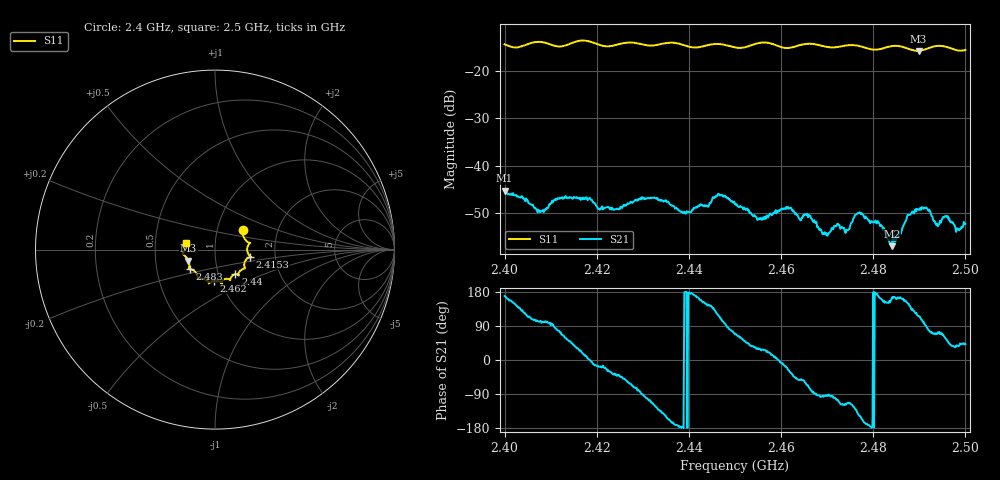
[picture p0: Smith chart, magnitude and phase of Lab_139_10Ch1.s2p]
# Hz S RI R 50
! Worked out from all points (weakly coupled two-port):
!   601 points, 2.4 GHz to 2.5 GHz, reference 50 ohm
!   highest |S21| = -45.25 dB at 2.4 GHz (marker M1); lowest = -56.9 dB at 2.484 GHz (marker M2)
!   lowest |S11| = -15.9 dB at 2.4898 GHz (marker M3), VSWR 1.38, Z = 36.8 - j4.61 ohm
!   |S11| at or under -10 dB: start of sweep to end of sweep
!   S12 and S22 are empty: the file has one direction only
!   S11 on the Smith chart (normalised r, x): 2.4 GHz: 1.33, +0.29; 2.4153 GHz: 1.48, -0.12; 2.44 GHz: 1.20, -0.34; 2.462 GHz: 0.93, -0.33; 2.483 GHz: 0.74, -0.17; 2.5 GHz: 0.72, +0.06
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2.4e9  0.1552 0.1067  -0.00536 0.00105  0 0  0 0
2.407667e9  0.1961 0.0378  -0.000676 0.00319  0 0  0 0
2.415333e9  0.1965 -0.0388  0.00374 0.00268  0 0  0 0
2.416667e9  0.2021 -0.0429  0.00426 0.00166  0 0  0 0
2.424e9  0.1628 -0.0875  0.00269 -0.00221  0 0  0 0
2.433333e9  0.1311 -0.1335  -0.00288 -0.00328  0 0  0 0
2.44e9  0.114 -0.1369  -0.00327 0.000104  0 0  0 0
2.4465e9  0.0847 -0.1702  -0.00228 0.00454  0 0  0 0
2.45e9  0.0647 -0.1626  0.00149 0.00365  0 0  0 0
2.455333e9  0.0369 -0.1916  0.00245 0.0014  0 0  0 0
2.462e9  -0.0052 -0.1733  0.00303 -0.00196  0 0  0 0
2.466667e9  -0.0343 -0.1876  0.00042 -0.00274  0 0  0 0
2.469833e9  -0.0463 -0.1713  -0.00015 -0.00196  0 0  0 0
2.474333e9  -0.0894 -0.1605  -0.000876 -0.00191  0 0  0 0
2.477167e9  -0.0966 -0.152  -0.00274 -0.00169  0 0  0 0
2.483e9  -0.1379 -0.1096  -0.00156 0.000841  0 0  0 0
2.483333e9  -0.1404 -0.1094  -0.00146 0.00082  0 0  0 0
2.484e9  -0.144 -0.109  -0.00136 0.000448  0 0  0 0
2.489833e9  -0.1487 -0.0611  -0.00154 0.00309  0 0  0 0
2.491833e9  -0.1665 -0.0363  0.000464 0.00345  0 0  0 0
2.493833e9  -0.18 -0.0234  0.000918 0.0023  0 0  0 0
2.5e9  -0.1598 0.039  0.00182 0.00165  0 0  0 0
